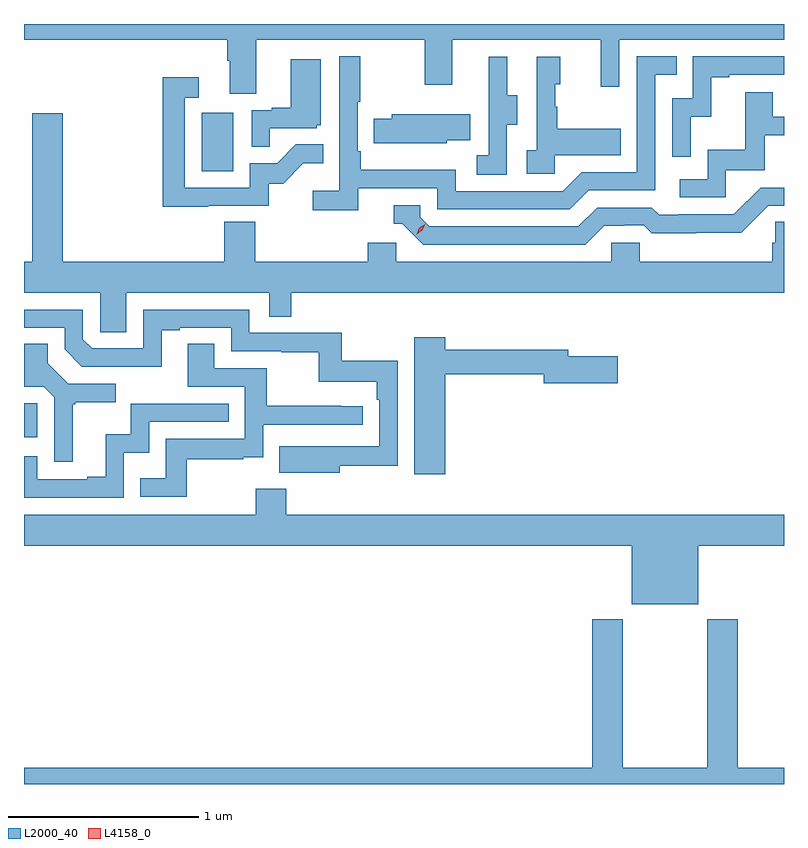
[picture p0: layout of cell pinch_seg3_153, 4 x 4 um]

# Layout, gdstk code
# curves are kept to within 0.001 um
import gdstk
lib = gdstk.Library(unit=1e-6, precision=1e-09)
def R(c, l, rs):  # rectangles x0, y0, x1, y1
    for r in rs: c.add(gdstk.rectangle(r[:2], r[2:], *l))
def P(c, l, *ps):  # polygons
    for p in ps: c.add(gdstk.Polygon(p, *l))
L2000_40 = (2000, 40)
L4158_0 = (4158, 0)

pinch_seg3_153 = lib.new_cell('pinch_seg3_153')
R(pinch_seg3_153, L2000_40, [(1128.974,726.795,1129.044,726.975), (1129.91,728.196,1130.074,728.503)])
P(pinch_seg3_153, L2000_40, [(1130.197,728.888),(1131.082,728.888),(1131.082,728.649),(1131.229,728.649),(1131.229,728.888),(1132.01,728.888),(1132.01,728.64),(1132.107,728.64),(1132.107,728.888),(1132.974,728.888),(1132.974,728.97),(1128.974,728.97),(1128.974,728.888),(1130.045,728.888),(1130.045,728.776),(1130.057,728.776),(1130.057,728.602),(1130.197,728.602)],
  [(1130.732,728.106),(1131.15,728.106),(1131.15,727.995),(1131.847,727.995),(1131.946,728.094),(1132.296,728.094),(1132.296,728.703),(1132.409,728.703),(1132.409,728.799),(1132.2,728.799),(1132.2,728.19),(1131.909,728.19),(1131.81,728.091),(1131.246,728.091),(1131.246,728.203),(1130.747,728.203),(1130.747,728.299),(1130.73,728.299),(1130.73,728.56),(1130.743,728.56),(1130.743,728.8),(1130.634,728.8),(1130.634,728.092),(1130.493,728.092),(1130.493,727.99),(1130.732,727.99)],
  [(1132.482,728.483),(1132.592,728.483),(1132.592,728.691),(1132.687,728.691),(1132.687,728.703),(1132.974,728.703),(1132.974,728.799),(1132.494,728.799),(1132.494,728.58),(1132.386,728.58),(1132.386,728.271),(1132.482,728.271)],
  [(1131.768,728.279),(1132.115,728.279),(1132.115,728.419),(1131.781,728.419),(1131.781,728.534),(1131.771,728.534),(1131.771,728.652),(1131.796,728.652),(1131.796,728.797),(1131.672,728.797),(1131.672,728.306),(1131.621,728.306),(1131.621,728.181),(1131.768,728.181)],
  [(1131.516,728.44),(1131.571,728.44),(1131.571,728.595),(1131.517,728.595),(1131.517,728.797),(1131.419,728.797),(1131.419,728.583),(1131.42,728.583),(1131.42,728.279),(1131.357,728.279),(1131.357,728.176),(1131.516,728.176)],
  [(1130.267,728.421),(1130.514,728.421),(1130.514,728.436),(1130.536,728.436),(1130.536,728.785),(1130.378,728.785),(1130.378,728.53),(1130.279,728.53),(1130.279,728.517),(1130.172,728.517),(1130.172,728.323),(1130.267,728.323)],
  [(1129.943,728.013),(1130.262,728.013),(1130.262,728.13),(1130.338,728.13),(1130.445,728.237),(1130.549,728.237),(1130.549,728.336),(1130.405,728.336),(1130.307,728.238),(1130.163,728.238),(1130.163,728.109),(1129.821,728.109),(1129.821,728.583),(1129.894,728.583),(1129.894,728.689),(1129.705,728.689),(1129.705,728.008),(1129.943,728.008)],
  [(1132.668,728.199),(1132.873,728.199),(1132.873,728.385),(1132.974,728.385),(1132.974,728.481),(1132.915,728.481),(1132.915,728.611),(1132.771,728.611),(1132.771,728.308),(1132.572,728.308),(1132.572,728.154),(1132.425,728.154),(1132.425,728.058),(1132.668,728.058)],
  [(1129.513,727.556),(1130.265,727.556),(1130.265,727.429),(1130.381,727.429),(1130.381,727.556),(1132.974,727.556),(1132.974,727.928),(1132.927,727.928),(1132.927,727.818),(1132.913,727.818),(1132.913,727.72),(1132.215,727.72),(1132.215,727.818),(1132.065,727.818),(1132.065,727.72),(1130.934,727.72),(1130.934,727.818),(1130.783,727.818),(1130.783,727.72),(1130.192,727.72),(1130.192,727.928),(1130.027,727.928),(1130.027,727.72),(1129.178,727.72),(1129.178,728.5),(1129.018,728.5),(1129.018,727.72),(1128.974,727.72),(1128.974,727.556),(1129.374,727.556),(1129.374,727.348),(1129.513,727.348)],
  [(1131.198,728.357),(1131.323,728.357),(1131.323,728.494),(1130.909,728.494),(1130.909,728.472),(1130.815,728.472),(1130.815,728.343),(1130.926,728.343),(1130.926,728.342),(1131.198,728.342)],
  [(1132.027,727.908),(1132.134,727.908),(1132.134,727.911),(1132.237,727.911),(1132.279,727.869),(1132.512,727.869),(1132.512,727.871),(1132.748,727.871),(1132.89,728.013),(1132.974,728.013),(1132.974,728.109),(1132.851,728.109),(1132.71,727.968),(1132.417,727.968),(1132.417,727.965),(1132.318,727.965),(1132.279,728.004),(1131.99,728.004),(1131.891,727.905),(1131.108,727.905),(1131.06,727.953),(1131.06,728.016),(1130.921,728.016),(1130.921,727.92),(1130.964,727.92),(1131.075,727.809),(1131.928,727.809)],
  [(1130.635,726.646),(1130.94,726.646),(1130.94,727.198),(1130.647,727.198),(1130.647,727.344),(1130.16,727.344),(1130.16,727.467),(1129.602,727.467),(1129.602,727.263),(1129.332,727.263),(1129.284,727.311),(1129.284,727.467),(1128.974,727.467),(1128.974,727.371),(1129.188,727.371),(1129.188,727.257),(1129.278,727.167),(1129.699,727.166),(1129.699,727.359),(1129.795,727.359),(1129.795,727.371),(1130.064,727.371),(1130.064,727.248),(1130.329,727.248),(1130.329,727.243),(1130.526,727.243),(1130.526,727.088),(1130.831,727.088),(1130.831,726.992),(1130.844,726.992),(1130.844,726.747),(1130.317,726.748),(1130.317,726.608),(1130.635,726.608)],
  [(1131.19,727.126),(1131.71,727.126),(1131.71,727.079),(1132.099,727.079),(1132.099,727.221),(1131.838,727.221),(1131.838,727.255),(1131.19,727.255),(1131.19,727.321),(1131.029,727.321),(1131.029,726.6),(1131.19,726.6)],
  [(1129.831,726.678),(1130.129,726.678),(1130.129,726.689),(1130.232,726.689),(1130.232,726.861),(1130.758,726.861),(1130.758,726.957),(1130.645,726.957),(1130.645,726.962),(1130.252,726.962),(1130.252,727.158),(1129.975,727.158),(1129.975,727.286),(1129.835,727.286),(1129.835,727.062),(1130.136,727.062),(1130.136,726.786),(1129.72,726.786),(1129.72,726.58),(1129.585,726.58),(1129.585,726.483),(1129.831,726.483)],
  [(1129.231,726.969),(1129.243,726.969),(1129.243,726.98),(1129.456,726.98),(1129.456,727.077),(1129.206,727.077),(1129.099,727.184),(1129.099,727.286),(1128.974,727.286),(1128.974,727.062),(1129.077,727.062),(1129.134,727.005),(1129.134,726.666),(1129.231,726.666)],
  [(1129.5,726.713),(1129.632,726.713),(1129.632,726.876),(1130.051,726.876),(1130.051,726.972),(1129.536,726.972),(1129.536,726.811),(1129.403,726.811),(1129.403,726.586),(1129.307,726.586),(1129.307,726.573),(1129.044,726.573),(1129.044,726.696),(1128.974,726.696),(1128.974,726.477),(1129.5,726.477)],
  [(1132.522,726.224),(1132.974,726.224),(1132.974,726.388),(1130.354,726.388),(1130.354,726.523),(1130.194,726.523),(1130.194,726.388),(1128.974,726.388),(1128.974,726.224),(1132.172,726.224),(1132.172,725.915),(1132.522,725.915)],
  [(1132.974,725.056),(1132.73,725.056),(1132.73,725.836),(1132.57,725.836),(1132.57,725.056),(1132.125,725.056),(1132.125,725.836),(1131.965,725.836),(1131.965,725.056),(1128.974,725.056),(1128.974,724.97),(1132.974,724.97)])
P(pinch_seg3_153, L4158_0, [(1131.04,727.864),(1131.04,727.864),(1131.055,727.897),(1131.086,727.917),(1131.086,727.917),(1131.086,727.917),(1131.07,727.884),(1131.04,727.864)])

lib.write_gds('pinch_seg3_153.gds')
